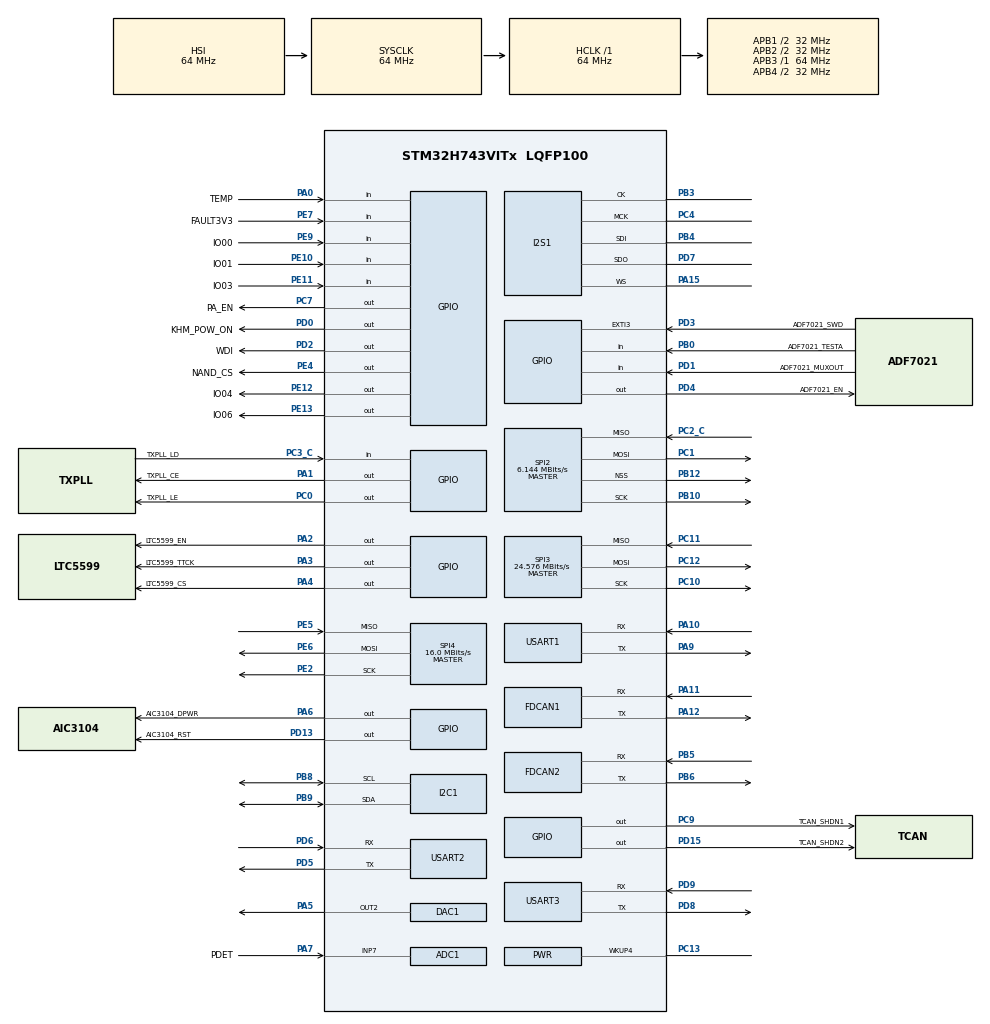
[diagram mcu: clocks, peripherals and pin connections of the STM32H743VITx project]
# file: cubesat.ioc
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ADC1.Channel-0\#ChannelRegularConversion=ADC_CHANNEL_7
ADC1.ClockPrescaler=ADC_CLOCK_ASYNC_DIV4
ADC1.NbrOfConversionFlag=1
ADC1.OffsetNumber-0\#ChannelRegularConversion=ADC_OFFSET_NONE
ADC1.OffsetSignedSaturation-0\#ChannelRegularConversion=DISABLE
ADC1.Rank-0\#ChannelRegularConversion=1
ADC1.SamplingTime-0\#ChannelRegularConversion=ADC_SAMPLETIME_64CYCLES_5
ADC1.master=1
CORTEX_M7.default_mode_Activation=1
DAC1.DAC_Channel-DAC_OUT2=DAC_CHANNEL_2
FDCAN1.CalculateBaudRateNominal=500000
FDCAN1.CalculateTimeBitNominal=2000
FDCAN1.CalculateTimeQuantumNominal=100.0
FDCAN1.ExtFiltersNbr=1
FDCAN1.NominalPrescaler=5
FDCAN1.NominalTimeSeg1=16
FDCAN1.NominalTimeSeg2=3
FDCAN1.RxFifo0ElmtsNbr=16
FDCAN1.TxBuffersNbr=0
FDCAN1.TxFifoQueueElmtsNbr=8
FDCAN2.CalculateBaudRateNominal=500000
FDCAN2.CalculateTimeBitNominal=2000
FDCAN2.CalculateTimeQuantumNominal=100.0
FDCAN2.ExtFiltersNbr=1
FDCAN2.MessageRAMOffset=128
FDCAN2.NominalPrescaler=5
FDCAN2.NominalTimeSeg1=16
FDCAN2.NominalTimeSeg2=3
FDCAN2.RxFifo0ElmtsNbr=16
FDCAN2.TxBuffersNbr=0
FDCAN2.TxFifoQueueElmtsNbr=8
FREERTOS.Tasks01=defaultTask,0,896,StartDefaultTask,Default,NULL,Dynamic,NULL,NULL;watchdogTask,1,128,StartWatchdogTask,Default,NULL,Dynamic,NULL,NULL
I2C1.Timing=0x00707CBB
I2S1.AudioFreq=I2S_AUDIOFREQ_48K
I2S1.ErrorAudioFreq=1.72 %
I2S1.Instance=SPI$Index
I2S1.RealAudioFreq=48.828 KHz
Mcu.Family=STM32H7
Mcu.Name=STM32H743VITx
Mcu.Package=LQFP100
NVIC.PriorityGroup=NVIC_PRIORITYGROUP_4
NVIC.TIM1_UP_IRQn=true\:15\:0\:false\:false\:true\:false\:false\:true\:true
NVIC.TimeBase=TIM1_UP_IRQn
NVIC.TimeBaseIP=TIM1
PA0.GPIO_Label=TEMP
PA0.Signal=GPIO_Input
PA1.GPIO_Label=TXPLL_CE
PA1.PinState=GPIO_PIN_SET
PA1.Signal=GPIO_Output
PA10.Mode=Asynchronous
PA10.Signal=USART1_RX
PA11.Mode=FDCAN_Activate
PA11.Signal=FDCAN1_RX
PA12.Mode=FDCAN_Activate
PA12.Signal=FDCAN1_TX
PA13\ (JTMS/SWDIO).Mode=Serial_Wire
PA13\ (JTMS/SWDIO).Signal=DEBUG_JTMS-SWDIO
PA14\ (JTCK/SWCLK).Mode=Serial_Wire
PA14\ (JTCK/SWCLK).Signal=DEBUG_JTCK-SWCLK
PA15\ (JTDI).Mode=Full_Duplex_Master
PA15\ (JTDI).Signal=I2S1_WS
PA2.GPIO_Label=LTC5599_EN
PA2.PinState=GPIO_PIN_SET
PA2.Signal=GPIO_Output
PA3.GPIO_Label=LTC5599_TTCK
PA3.GPIO_Speed=GPIO_SPEED_FREQ_LOW
PA3.PinState=GPIO_PIN_SET
PA3.Signal=GPIO_Output
PA4.GPIO_Label=LTC5599_CS
PA4.PinState=GPIO_PIN_SET
PA4.Signal=GPIO_Output
PA5.Signal=COMP_DAC12_group
PA6.GPIO_Label=AIC3104_DPWR
PA6.PinState=GPIO_PIN_SET
PA6.Signal=GPIO_Output
PA7.GPIO_Label=PDET
PA7.Signal=ADCx_INP7
PA9.Mode=Asynchronous
PA9.Signal=USART1_TX
PB0.GPIO_Label=ADF7021_TESTA
PB0.Signal=GPIO_Input
PB10.Mode=Full_Duplex_Master
PB10.Signal=SPI2_SCK
PB12.Mode=NSS_Signal_Hard_Output
PB12.Signal=SPI2_NSS
PB3\ (JTDO/TRACESWO).Mode=Full_Duplex_Master
PB3\ (JTDO/TRACESWO).Signal=I2S1_CK
PB4\ (NJTRST).Mode=Full_Duplex_Master
PB4\ (NJTRST).Signal=I2S1_SDI
PB5.Mode=FDCAN_Activate
PB5.Signal=FDCAN2_RX
PB6.Mode=FDCAN_Activate
PB6.Signal=FDCAN2_TX
PB8.Mode=I2C
PB8.Signal=I2C1_SCL
PB9.Mode=I2C
PB9.Signal=I2C1_SDA
PC0.GPIO_Label=TXPLL_LE
PC0.Signal=GPIO_Output
PC1.Mode=Full_Duplex_Master
PC1.Signal=SPI2_MOSI
PC10.Mode=Full_Duplex_Master
PC10.Signal=SPI3_SCK
PC11.Mode=Full_Duplex_Master
PC11.Signal=SPI3_MISO
PC12.Mode=Full_Duplex_Master
PC12.Signal=SPI3_MOSI
PC13.Mode=WakeUp4
PC13.Signal=PWR_WKUP4
PC14-OSC32_IN\ (OSC32_IN).Mode=LSE-External-Clock-Source
PC14-OSC32_IN\ (OSC32_IN).Signal=RCC_OSC32_IN
PC2_C.Mode=Full_Duplex_Master
PC2_C.Signal=SPI2_MISO
PC3_C.GPIO_Label=TXPLL_LD
PC3_C.Signal=GPIO_Input
PC4.Mode=Master_Clock_Activated
PC4.Signal=I2S1_MCK
PC7.GPIO_Label=PA_EN
PC7.PinState=GPIO_PIN_SET
PC7.Signal=GPIO_Output
PC9.GPIO_Label=TCAN_SHDN1
PC9.PinState=GPIO_PIN_SET
PC9.Signal=GPIO_Output
PD0.GPIO_Label=KHM_POW_ON
PD0.PinState=GPIO_PIN_SET
PD0.Signal=GPIO_Output
PD1.GPIO_Label=ADF7021_MUXOUT
PD1.Signal=GPIO_Input
PD13.GPIO_Label=AIC3104_RST
PD13.PinState=GPIO_PIN_SET
PD13.Signal=GPIO_Output
PD15.GPIO_Label=TCAN_SHDN2
PD15.PinState=GPIO_PIN_SET
PD15.Signal=GPIO_Output
PD2.GPIO_Label=WDI
PD2.Signal=GPIO_Output
PD3.GPIO_Label=ADF7021_SWD
PD3.Signal=GPXTI3
PD4.GPIO_Label=ADF7021_EN
PD4.Signal=GPIO_Output
PD5.Mode=Asynchronous
PD5.Signal=USART2_TX
PD6.Mode=Asynchronous
PD6.Signal=USART2_RX
PD7.Mode=Full_Duplex_Master
PD7.Signal=I2S1_SDO
PD8.Mode=Asynchronous
PD8.Signal=USART3_TX
PD9.Mode=Asynchronous
PD9.Signal=USART3_RX
PE10.GPIO_Label=IO01
PE10.Signal=GPIO_Input
PE11.GPIO_Label=IO03
PE11.Signal=GPIO_Input
PE12.GPIO_Label=IO04
PE12.Signal=GPIO_Output
PE13.GPIO_Label=IO06
PE13.Signal=GPIO_Output
PE2.Mode=Full_Duplex_Master
PE2.Signal=SPI4_SCK
PE4.GPIO_Label=NAND_CS
PE4.PinState=GPIO_PIN_SET
PE4.Signal=GPIO_Output
PE5.Mode=Full_Duplex_Master
PE5.Signal=SPI4_MISO
PE6.Mode=Full_Duplex_Master
PE6.Signal=SPI4_MOSI
PE7.GPIO_Label=FAULT3V3
PE7.GPIO_PuPd=GPIO_PULLUP
PE7.Signal=GPIO_Input
PE9.GPIO_Label=IO00
PE9.Signal=GPIO_Input
PH0-OSC_IN\ (PH0).Mode=HSE-External-Clock-Source
PH0-OSC_IN\ (PH0).Signal=RCC_OSC_IN
ProjectManager.HeapSize=0x1000
ProjectManager.StackSize=0x1000
ProjectManager.TargetToolchain=CMake
RAMECC.Instance-RAMECC1_Monitor1=RAMECC1_Monitor1
RAMECC.Instance-RAMECC1_Monitor2=RAMECC1_Monitor2
RAMECC.Instance-RAMECC1_Monitor3=RAMECC1_Monitor3
RAMECC.Instance-RAMECC1_Monitor4=RAMECC1_Monitor4
RAMECC.Instance-RAMECC1_Monitor5=RAMECC1_Monitor5
RAMECC.Instance-RAMECC2_Monitor1=RAMECC2_Monitor1
RAMECC.Instance-RAMECC2_Monitor2=RAMECC2_Monitor2
RAMECC.Instance-RAMECC2_Monitor3=RAMECC2_Monitor3
RAMECC.Instance-RAMECC2_Monitor4=RAMECC2_Monitor4
RAMECC.Instance-RAMECC2_Monitor5=RAMECC2_Monitor5
RAMECC.Instance-RAMECC3_Monitor1=RAMECC3_Monitor1
RAMECC.Instance-RAMECC3_Monitor2=RAMECC3_Monitor2
RCC.ADCFreq_Value=80000000
RCC.APB1Freq_Value=32000000
RCC.APB2Freq_Value=32000000
RCC.APB3Freq_Value=64000000
RCC.APB4Freq_Value=32000000
RCC.CortexFreq_Value=64000000
RCC.D2PPRE1=RCC_APB1_DIV2
RCC.D2PPRE2=RCC_APB2_DIV2
RCC.D3PPRE=RCC_APB4_DIV2
RCC.DIVM1=5
RCC.DIVM2=5
RCC.DIVM3=5
RCC.DIVN1=60
RCC.DIVN2=64
RCC.DIVN3=78
RCC.DIVP1=4
RCC.DIVP2=4
RCC.DIVP3=8
RCC.DIVQ1=6
RCC.DIVQ2=4
RCC.DIVQ3=8
RCC.DIVR1=4
RCC.DIVR2=4
RCC.DIVR3=8
RCC.HCLKFreq_Value=64000000
RCC.PLL2FRACN=0
RCC.PLL3FRACN=5269
RCC.PLLFRACN=0
RCC.PLLSourceVirtual=RCC_PLLSOURCE_HSE
RCC.SPI123CLockSelection=RCC_SPI123CLKSOURCE_PLL3
RCC.SYSCLKFreq_VALUE=64000000
RCC.USBFreq_Value=50000000
SH.ADCx_INP7.0=ADC1_INP7,IN7-Single-Ended
SH.COMP_DAC12_group.0=DAC1_OUT2,DAC_OUT2
SPI2.BaudRatePrescaler=SPI_BAUDRATEPRESCALER_8
SPI2.CalculateBaudRate=6.144 MBits/s
SPI2.DataSize=SPI_DATASIZE_8BIT
SPI2.Direction=SPI_DIRECTION_2LINES
SPI2.Mode=SPI_MODE_MASTER
SPI2.NSSPMode=SPI_NSS_PULSE_DISABLE
SPI2.VirtualNSS=VM_NSSHARD
SPI2.VirtualType=VM_MASTER
SPI3.CalculateBaudRate=24.576 MBits/s
SPI3.DataSize=SPI_DATASIZE_8BIT
SPI3.Direction=SPI_DIRECTION_2LINES
SPI3.Mode=SPI_MODE_MASTER
SPI3.VirtualNSS=VM_NSS
SPI3.VirtualType=VM_MASTER
SPI4.CalculateBaudRate=16.0 MBits/s
SPI4.DataSize=SPI_DATASIZE_8BIT
SPI4.Direction=SPI_DIRECTION_2LINES
SPI4.Mode=SPI_MODE_MASTER
SPI4.VirtualNSS=VM_NSS
SPI4.VirtualType=VM_MASTER
USART1.AdvancedParams=AdvFeatureInit,SwapParam
USART1.VirtualMode-Asynchronous=VM_ASYNC
USART2.VirtualMode-Asynchronous=VM_ASYNC
USART3.VirtualMode-Asynchronous=VM_ASYNC
VP_FREERTOS_VS_CMSIS_V1.Mode=CMSIS_V1
VP_IWDG1_VS_IWDG.Mode=IWDG_Activate
VP_MEMORYMAP_VS_MEMORYMAP.Mode=CurAppReg
VP_RAMECC_VS_D1_1.Mode=RAMECC1_Monitor1
VP_RAMECC_VS_D1_2.Mode=RAMECC1_Monitor2
VP_RAMECC_VS_D1_3.Mode=RAMECC1_Monitor3
VP_RAMECC_VS_D1_4.Mode=RAMECC1_Monitor4
VP_RAMECC_VS_D1_5.Mode=RAMECC1_Monitor5
VP_RAMECC_VS_D2_1.Mode=RAMECC2_Monitor1
VP_RAMECC_VS_D2_2.Mode=RAMECC2_Monitor2
VP_RAMECC_VS_D2_3.Mode=RAMECC2_Monitor3
VP_RAMECC_VS_D2_4.Mode=RAMECC2_Monitor4
VP_RAMECC_VS_D2_5.Mode=RAMECC2_Monitor5
VP_RAMECC_VS_D3_1.Mode=RAMECC3_Monitor1
VP_RAMECC_VS_D3_2.Mode=RAMECC3_Monitor2
VP_SYS_VS_tim1.Mode=TIM1
board=custom

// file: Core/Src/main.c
/* USER CODE BEGIN Header */
/**
  ******************************************************************************
  * @file           : main.c
  * @brief          : Main program body
  ******************************************************************************
  * @attention
  *
  * Copyright (c) 2026 STMicroelectronics.
  * All rights reserved.
  *
  * This software is licensed under terms that can be found in the LICENSE file
  * in the root directory of this software component.
  * If no LICENSE file comes with this software, it is provided AS-IS.
  *
  ******************************************************************************
  */
/* USER CODE END Header */
#include "main.h"
#include "cmsis_os.h"
#include "adc.h"
#include "dac.h"
#include "fdcan.h"
#include "i2c.h"
#include "i2s.h"
#include "iwdg.h"
#include "ramecc.h"
#include "spi.h"
#include "usart.h"
#include "gpio.h"

/* USER CODE BEGIN Includes */
#include "ttc_app.h"

/* USER CODE END Includes */

void SystemClock_Config(void);
static void MPU_Config(void);
void MX_FREERTOS_Init(void);

/* USER CODE BEGIN 0 */

int __io_putchar(int ch)
{
  uint8_t c = (uint8_t)ch;

  if (ch == '\n') {
    uint8_t cr = '\r';
    (void)HAL_UART_Transmit(&huart1, &cr, 1U, 100U);
  }

  (void)HAL_UART_Transmit(&huart1, &c, 1U, 100U);
  return ch;
}

/* USER CODE END 0 */

int main(void)
{

  /* MPU Configuration--------------------------------------------------------*/
  MPU_Config();

  /* MCU Configuration--------------------------------------------------------*/

  /* Reset of all peripherals, Initializes the Flash interface and the Systick. */
  HAL_Init();

  /* Configure the system clock */
  SystemClock_Config();

  /* Initialize all configured peripherals */
  MX_GPIO_Init();
  MX_FDCAN1_Init();
  MX_I2S1_Init();
  MX_SPI4_Init();
  MX_SPI2_Init();
  MX_SPI3_Init();
  MX_DAC1_Init();
  MX_I2C1_Init();
  MX_IWDG1_Init();
  MX_USART1_UART_Init();
  MX_USART2_UART_Init();
  MX_USART3_UART_Init();
  MX_RAMECC_Init();
  MX_ADC1_Init();
  MX_FDCAN2_Init();

  /* Call init function for freertos objects (in cmsis_os2.c) */
  MX_FREERTOS_Init();

  /* Start scheduler */
  osKernelStart();

  /* We should never get here as control is now taken by the scheduler */

  /* Infinite loop */
  while (1)
  {

  }
}

void SystemClock_Config(void)
{
  RCC_OscInitTypeDef RCC_OscInitStruct = {0};
  RCC_ClkInitTypeDef RCC_ClkInitStruct = {0};

  /** Supply configuration update enable
  */
  HAL_PWREx_ConfigSupply(PWR_LDO_SUPPLY);

  /** Configure the main internal regulator output voltage
  */
  __HAL_PWR_VOLTAGESCALING_CONFIG(PWR_REGULATOR_VOLTAGE_SCALE3);

  while(!__HAL_PWR_GET_FLAG(PWR_FLAG_VOSRDY)) {}

  /** Initializes the RCC Oscillators according to the specified parameters
  * in the RCC_OscInitTypeDef structure.
  */
  RCC_OscInitStruct.OscillatorType = RCC_OSCILLATORTYPE_HSE|RCC_OSCILLATORTYPE_HSI|RCC_OSCILLATORTYPE_LSI;
  RCC_OscInitStruct.HSEState = RCC_HSE_BYPASS;
  RCC_OscInitStruct.HSIState = RCC_HSI_DIV1;
  RCC_OscInitStruct.HSICalibrationValue = RCC_HSICALIBRATION_DEFAULT;
  RCC_OscInitStruct.LSIState = RCC_LSI_ON;
  RCC_OscInitStruct.PLL.PLLState = RCC_PLL_ON;
  RCC_OscInitStruct.PLL.PLLSource = RCC_PLLSOURCE_HSE;
  RCC_OscInitStruct.PLL.PLLM = 5;
  RCC_OscInitStruct.PLL.PLLN = 60;
  RCC_OscInitStruct.PLL.PLLP = 4;
  RCC_OscInitStruct.PLL.PLLQ = 6;
  RCC_OscInitStruct.PLL.PLLR = 4;
  RCC_OscInitStruct.PLL.PLLRGE = RCC_PLL1VCIRANGE_2;
  RCC_OscInitStruct.PLL.PLLVCOSEL = RCC_PLL1VCOWIDE;
  RCC_OscInitStruct.PLL.PLLFRACN = 0;
  if (HAL_RCC_OscConfig(&RCC_OscInitStruct) != HAL_OK)
  {
    Error_Handler();
  }

  /** Initializes the CPU, AHB and APB buses clocks
  */
  RCC_ClkInitStruct.ClockType = RCC_CLOCKTYPE_HCLK|RCC_CLOCKTYPE_SYSCLK
                              |RCC_CLOCKTYPE_PCLK1|RCC_CLOCKTYPE_PCLK2
                              |RCC_CLOCKTYPE_D3PCLK1|RCC_CLOCKTYPE_D1PCLK1;
  RCC_ClkInitStruct.SYSCLKSource = RCC_SYSCLKSOURCE_HSI;
  RCC_ClkInitStruct.SYSCLKDivider = RCC_SYSCLK_DIV1;
  RCC_ClkInitStruct.AHBCLKDivider = RCC_HCLK_DIV1;
  RCC_ClkInitStruct.APB3CLKDivider = RCC_APB3_DIV1;
  RCC_ClkInitStruct.APB1CLKDivider = RCC_APB1_DIV2;
  RCC_ClkInitStruct.APB2CLKDivider = RCC_APB2_DIV2;
  RCC_ClkInitStruct.APB4CLKDivider = RCC_APB4_DIV2;

  if (HAL_RCC_ClockConfig(&RCC_ClkInitStruct, FLASH_LATENCY_1) != HAL_OK)
  {
    Error_Handler();
  }
}

 /* MPU Configuration */

void MPU_Config(void)
{
  MPU_Region_InitTypeDef MPU_InitStruct = {0};

  /* Disables the MPU */
  HAL_MPU_Disable();

  /** Initializes and configures the Region and the memory to be protected
  */
  MPU_InitStruct.Enable = MPU_REGION_ENABLE;
  MPU_InitStruct.Number = MPU_REGION_NUMBER0;
  MPU_InitStruct.BaseAddress = 0x0;
  MPU_InitStruct.Size = MPU_REGION_SIZE_4GB;
  MPU_InitStruct.SubRegionDisable = 0x87;
  MPU_InitStruct.TypeExtField = MPU_TEX_LEVEL0;
  MPU_InitStruct.AccessPermission = MPU_REGION_NO_ACCESS;
  MPU_InitStruct.DisableExec = MPU_INSTRUCTION_ACCESS_DISABLE;
  MPU_InitStruct.IsShareable = MPU_ACCESS_SHAREABLE;
  MPU_InitStruct.IsCacheable = MPU_ACCESS_NOT_CACHEABLE;
  MPU_InitStruct.IsBufferable = MPU_ACCESS_NOT_BUFFERABLE;

  HAL_MPU_ConfigRegion(&MPU_InitStruct);
  /* Enables the MPU */
  HAL_MPU_Enable(MPU_PRIVILEGED_DEFAULT);

}

void HAL_TIM_PeriodElapsedCallback(TIM_HandleTypeDef *htim)
{
  if (htim->Instance == TIM1)
  {
    HAL_IncTick();
  }
}

void Error_Handler(void)
{
  /* USER CODE BEGIN Error_Handler_Debug */
  /* User can add his own implementation to report the HAL error return state */
  __disable_irq();
  ttc_record_fault(7);
  while (1)
  {
  }
  /* USER CODE END Error_Handler_Debug */
}

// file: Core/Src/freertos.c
/* USER CODE BEGIN Header */
/**
  ******************************************************************************
  * File Name          : freertos.c
  * Description        : Code for freertos applications
  ******************************************************************************
  * @attention
  *
  * Copyright (c) 2026 STMicroelectronics.
  * All rights reserved.
  *
  * This software is licensed under terms that can be found in the LICENSE file
  * in the root directory of this software component.
  * If no LICENSE file comes with this software, it is provided AS-IS.
  *
  ******************************************************************************
  */
/* USER CODE END Header */

#include "FreeRTOS.h"
#include "task.h"
#include "main.h"
#include "cmsis_os.h"

/* USER CODE BEGIN Includes */
#include "ttc_app.h"
#include "ttc_radio.h"
#include "iwdg.h"
/* USER CODE END Includes */

osThreadId defaultTaskHandle;
osThreadId watchdogTaskHandle;

void StartDefaultTask(void const * argument);
void StartWatchdogTask(void const * argument);

void MX_FREERTOS_Init(void); /* (MISRA C 2004 rule 8.1) */

/* GetIdleTaskMemory prototype (linked to static allocation support) */
void vApplicationGetIdleTaskMemory( StaticTask_t **ppxIdleTaskTCBBuffer, StackType_t **ppxIdleTaskStackBuffer, uint32_t *pulIdleTaskStackSize );

/* USER CODE BEGIN GET_IDLE_TASK_MEMORY */
static StaticTask_t xIdleTaskTCBBuffer;
static StackType_t xIdleStack[configMINIMAL_STACK_SIZE];

void vApplicationGetIdleTaskMemory( StaticTask_t **ppxIdleTaskTCBBuffer, StackType_t **ppxIdleTaskStackBuffer, uint32_t *pulIdleTaskStackSize )
{
  *ppxIdleTaskTCBBuffer = &xIdleTaskTCBBuffer;
  *ppxIdleTaskStackBuffer = &xIdleStack[0];
  *pulIdleTaskStackSize = configMINIMAL_STACK_SIZE;
  /* place for user code */
}
/* USER CODE END GET_IDLE_TASK_MEMORY */

void MX_FREERTOS_Init(void) {

  /* Create the thread(s) */
  /* definition and creation of defaultTask */
  osThreadDef(defaultTask, StartDefaultTask, osPriorityNormal, 0, 896);
  defaultTaskHandle = osThreadCreate(osThread(defaultTask), NULL);

  /* definition and creation of watchdogTask */
  osThreadDef(watchdogTask, StartWatchdogTask, osPriorityAboveNormal, 0, 128);
  watchdogTaskHandle = osThreadCreate(osThread(watchdogTask), NULL);

  /* USER CODE BEGIN RTOS_THREADS */
  if (!defaultTaskHandle || !watchdogTaskHandle) Error_Handler();
  if (xTaskCreate(ttc_radio_thread, "iq", 640, NULL, osPriorityAboveNormal - osPriorityIdle + 1, NULL) != pdPASS) Error_Handler();
  /* USER CODE END RTOS_THREADS */

}

void StartDefaultTask(void const * argument)
{
  /* USER CODE BEGIN StartDefaultTask */
  (void)argument;
  ttc_app_run();
/* USER CODE END StartDefaultTask */
}

void StartWatchdogTask(void const * argument)
{
  /* USER CODE BEGIN StartWatchdogTask */
  (void)argument;
  for (;;) {
    if (ttc_app_healthy(HAL_GetTick())) {
      HAL_GPIO_TogglePin(WDI_GPIO_Port, WDI_Pin);
      HAL_IWDG_Refresh(&hiwdg1);
    }
    osDelay(100);
  }
/* USER CODE END StartWatchdogTask */
}
